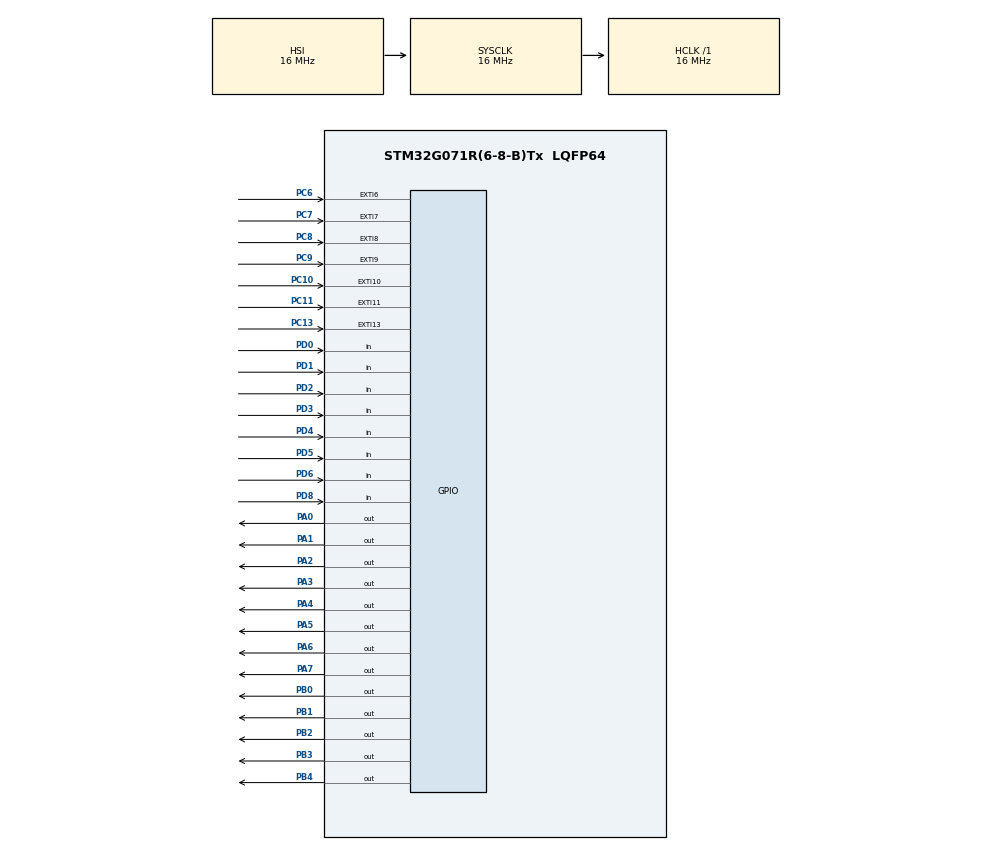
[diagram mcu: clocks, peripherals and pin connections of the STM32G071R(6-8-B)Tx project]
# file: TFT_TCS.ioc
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Mcu.Family=STM32G0
Mcu.Name=STM32G071R(6-8-B)Tx
Mcu.Package=LQFP64
NVIC.EXTI4_15_IRQn=true\:0\:0\:false\:false\:true\:true\:true
PA0.Signal=GPIO_Output
PA1.Signal=GPIO_Output
PA2.Signal=GPIO_Output
PA3.Signal=GPIO_Output
PA4.Signal=GPIO_Output
PA5.Signal=GPIO_Output
PA6.Signal=GPIO_Output
PA7.Signal=GPIO_Output
PB0.Signal=GPIO_Output
PB1.Signal=GPIO_Output
PB2.Signal=GPIO_Output
PB3.Signal=GPIO_Output
PB4.Signal=GPIO_Output
PC10.GPIO_ModeDefaultEXTI=GPIO_MODE_IT_FALLING
PC10.GPIO_PuPd=GPIO_PULLUP
PC10.Signal=GPXTI10
PC11.GPIO_ModeDefaultEXTI=GPIO_MODE_IT_FALLING
PC11.GPIO_PuPd=GPIO_PULLUP
PC11.Signal=GPXTI11
PC13.GPIO_ModeDefaultEXTI=GPIO_MODE_IT_FALLING
PC13.GPIO_PuPd=GPIO_PULLUP
PC13.Signal=GPXTI13
PC6.GPIO_ModeDefaultEXTI=GPIO_MODE_IT_FALLING
PC6.GPIO_PuPd=GPIO_PULLUP
PC6.Signal=GPXTI6
PC7.GPIO_ModeDefaultEXTI=GPIO_MODE_IT_FALLING
PC7.GPIO_PuPd=GPIO_PULLUP
PC7.Signal=GPXTI7
PC8.GPIO_ModeDefaultEXTI=GPIO_MODE_IT_FALLING
PC8.GPIO_PuPd=GPIO_PULLUP
PC8.Signal=GPXTI8
PC9.GPIO_ModeDefaultEXTI=GPIO_MODE_IT_FALLING
PC9.GPIO_PuPd=GPIO_PULLUP
PC9.Signal=GPXTI9
PD0.GPIO_PuPd=GPIO_PULLUP
PD0.Signal=GPIO_Input
PD1.GPIO_PuPd=GPIO_PULLUP
PD1.Signal=GPIO_Input
PD2.GPIO_PuPd=GPIO_PULLUP
PD2.Signal=GPIO_Input
PD3.GPIO_PuPd=GPIO_PULLUP
PD3.Signal=GPIO_Input
PD4.GPIO_PuPd=GPIO_PULLUP
PD4.Signal=GPIO_Input
PD5.GPIO_PuPd=GPIO_PULLUP
PD5.Signal=GPIO_Input
PD6.GPIO_PuPd=GPIO_PULLUP
PD6.Signal=GPIO_Input
PD8.GPIO_PuPd=GPIO_PULLUP
PD8.Signal=GPIO_Input
ProjectManager.HeapSize=0x200
ProjectManager.StackSize=0x400
ProjectManager.TargetToolchain=MDK-ARM V5.27
RCC.AHBFreq_Value=16000000
RCC.CortexFreq_Value=16000000
RCC.EXTERNAL_CLOCK_VALUE=48000
RCC.HCLKFreq_Value=16000000
RCC.HSE_VALUE=8000000
RCC.HSI_VALUE=16000000
RCC.LSE_VALUE=32768
RCC.SYSCLKFreq_VALUE=16000000
RCC.VCOOutputFreq_Value=128000000
VP_SYS_VS_DBSignals.Mode=DisableDeadBatterySignals
board=custom

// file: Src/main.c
#include "main.h"
#include "stdlib.h"
#include "string.h"
#define u8  unsigned char
#define u16 unsigned int

int ZFK[27][16][12]=  //字符库 27个 16行 12列 (0亮1灭)
{
		{		//		空格
		{0,0,0,0,0,0,0,0,0,0,0,0},
		{0,0,0,0,0,0,0,0,0,0,0,0},
		{0,0,0,0,0,0,0,0,0,0,0,0},
		{0,0,0,0,0,0,0,0,0,0,0,0},
		{0,0,0,0,0,0,0,0,0,0,0,0},
		{0,0,0,0,0,0,0,0,0,0,0,0},
		{0,0,0,0,0,0,0,0,0,0,0,0},
		{0,0,0,0,0,0,0,0,0,0,0,0},
		{0,0,0,0,0,0,0,0,0,0,0,0},
		{0,0,0,0,0,0,0,0,0,0,0,0},
		{0,0,0,0,0,0,0,0,0,0,0,0},
		{0,0,0,0,0,0,0,0,0,0,0,0},
		{0,0,0,0,0,0,0,0,0,0,0,0},
		{0,0,0,0,0,0,0,0,0,0,0,0},
		{0,0,0,0,0,0,0,0,0,0,0,0},
		{0,0,0,0,0,0,0,0,0,0,0,0},
	},

	{		//		A
		{0,0,0,0,0,0,0,0,0,0,0,0},
		{0,0,0,0,0,0,0,0,0,0,0,0},
		{0,0,0,0,0,0,0,0,0,0,0,0},
		{0,0,0,0,0,0,0,0,0,0,0,0},
		{0,0,0,0,0,0,0,0,0,0,0,0},
		{0,0,0,0,1,1,1,0,0,0,0,0},
		{0,0,0,0,1,1,1,0,0,0,0,0},
		{0,0,0,1,1,0,1,1,0,0,0,0},
		{0,0,0,1,0,0,0,1,0,0,0,0},
		{0,0,1,1,0,0,0,1,1,0,0,0},
		{0,0,1,1,1,1,1,1,1,0,0,0},
		{0,1,1,1,1,1,1,1,1,1,0,0},
		{0,1,1,0,0,0,0,0,1,1,0,0},
		{0,1,1,0,0,0,0,0,1,1,0,0},
		{0,1,1,0,0,0,0,0,1,1,0,0},
		{0,0,0,0,0,0,0,0,0,0,0,0},
	},

	{		//		B
		{0,0,0,0,0,0,0,0,0,0,0,0},
		{0,0,0,0,0,0,0,0,0,0,0,0},
		{0,0,0,0,0,0,0,0,0,0,0,0},
		{0,0,0,0,0,0,0,0,0,0,0,0},
		{0,0,0,0,0,0,0,0,0,0,0,0},
		{0,1,1,1,1,1,0,0,0,0,0,0},
		{0,1,1,1,1,1,1,1,0,0,0,0},
		{0,1,1,0,0,0,1,1,0,0,0,0},
		{0,1,1,0,0,0,1,1,0,0,0,0},
		{0,1,1,1,1,1,1,0,0,0,0,0},
		{0,1,1,1,1,1,1,0,0,0,0,0},
		{0,1,1,0,0,0,1,1,0,0,0,0},
		{0,1,1,0,0,0,1,1,0,0,0,0},
		{0,1,1,1,1,1,1,1,0,0,0,0},
		{0,1,1,1,1,1,0,0,0,0,0,0},
		{0,0,0,0,0,0,0,0,0,0,0,0},
	},

	{		 //		C
		{0,0,0,0,0,0,0,0,0,0,0,0},
		{0,0,0,0,0,0,0,0,0,0,0,0},
		{0,0,0,0,0,0,0,0,0,0,0,0},
		{0,0,0,0,0,0,0,0,0,0,0,0},
		{0,0,0,0,0,0,0,0,0,0,0,0},
		{0,0,0,1,1,1,1,1,0,0,0,0},
		{0,0,1,1,1,1,1,1,0,0,0,0},
		{0,1,1,1,0,0,0,0,0,0,0,0},
		{0,1,1,0,0,0,0,0,0,0,0,0},
		{0,1,1,0,0,0,0,0,0,0,0,0},
		{0,1,1,0,0,0,0,0,0,0,0,0},
		{0,1,1,0,0,0,0,0,0,0,0,0},
		{0,1,1,1,0,0,0,0,0,0,0,0},
		{0,0,1,1,1,1,1,1,0,0,0,0},
		{0,0,0,1,1,1,1,1,0,0,0,0},
		{0,0,0,0,0,0,0,0,0,0,0,0},
	},

	{		 //		D
		{0,0,0,0,0,0,0,0,0,0,0,0},
		{0,0,0,0,0,0,0,0,0,0,0,0},
		{0,0,0,0,0,0,0,0,0,0,0,0},
		{0,0,0,0,0,0,0,0,0,0,0,0},
		{0,0,0,0,0,0,0,0,0,0,0,0},
		{0,1,1,1,1,1,0,0,0,0,0,0},
		{0,1,1,1,1,1,1,1,0,0,0,0},
		{0,1,1,0,0,0,1,1,0,0,0,0},
		{0,1,1,0,0,0,1,1,0,0,0,0},
		{0,1,1,0,0,0,1,1,0,0,0,0},
		{0,1,1,0,0,0,1,1,0,0,0,0},
		{0,1,1,0,0,0,1,1,0,0,0,0},
		{0,1,1,0,0,0,1,1,0,0,0,0},
		{0,1,1,1,1,1,1,1,0,0,0,0},
		{0,1,1,1,1,1,0,0,0,0,0,0},
		{0,0,0,0,0,0,0,0,0,0,0,0},
	},

	{		 //		E
		{0,0,0,0,0,0,0,0,0,0,0,0},
		{0,0,0,0,0,0,0,0,0,0,0,0},
		{0,0,0,0,0,0,0,0,0,0,0,0},
		{0,0,0,0,0,0,0,0,0,0,0,0},
		{0,0,0,0,0,0,0,0,0,0,0,0},
		{0,1,1,1,1,1,1,1,0,0,0,0},
		{0,1,1,1,1,1,1,1,0,0,0,0},
		{0,1,1,0,0,0,0,0,0,0,0,0},
		{0,1,1,0,0,0,0,0,0,0,0,0},
		{0,1,1,1,1,1,1,1,0,0,0,0},
		{0,1,1,1,1,1,1,1,0,0,0,0},
		{0,1,1,0,0,0,0,0,0,0,0,0},
		{0,1,1,0,0,0,0,0,0,0,0,0},
		{0,1,1,1,1,1,1,1,0,0,0,0},
		{0,1,1,1,1,1,1,1,0,0,0,0},
		{0,0,0,0,0,0,0,0,0,0,0,0},
	},

	{		 //		F
		{0,0,0,0,0,0,0,0,0,0,0,0},
		{0,0,0,0,0,0,0,0,0,0,0,0},
		{0,0,0,0,0,0,0,0,0,0,0,0},
		{0,0,0,0,0,0,0,0,0,0,0,0},
		{0,0,0,0,0,0,0,0,0,0,0,0},
		{0,1,1,1,1,1,1,1,0,0,0,0},
		{0,1,1,1,1,1,1,1,0,0,0,0},
		{0,1,1,0,0,0,0,0,0,0,0,0},
		{0,1,1,0,0,0,0,0,0,0,0,0},
		{0,1,1,1,1,1,0,0,0,0,0,0},
		{0,1,1,1,1,1,0,0,0,0,0,0},
		{0,1,1,0,0,0,0,0,0,0,0,0},
		{0,1,1,0,0,0,0,0,0,0,0,0},
		{0,1,1,0,0,0,0,0,0,0,0,0},
		{0,1,1,0,0,0,0,0,0,0,0,0},
		{0,0,0,0,0,0,0,0,0,0,0,0},
	},

	{		 //		G
		{0,0,0,0,0,0,0,0,0,0,0,0},
		{0,0,0,0,0,0,0,0,0,0,0,0},
		{0,0,0,0,0,0,0,0,0,0,0,0},
		{0,0,0,0,0,0,0,0,0,0,0,0},
		{0,0,0,0,0,0,0,0,0,0,0,0},
		{0,0,0,1,1,1,1,1,0,0,0,0},
		{0,0,1,1,1,1,1,1,0,0,0,0},
		{0,1,1,1,0,0,0,0,0,0,0,0},
		{0,1,1,0,0,0,0,0,0,0,0,0},
		{0,1,1,0,0,1,1,1,0,0,0,0},
		{0,1,1,0,0,1,1,1,0,0,0,0},
		{0,1,1,0,0,0,1,1,0,0,0,0},
		{0,1,1,1,0,0,1,1,0,0,0,0},
		{0,0,1,1,1,1,1,1,0,0,0,0},
		{0,0,0,1,1,1,1,1,0,0,0,0},
		{0,0,0,0,0,0,0,0,0,0,0,0},
	},

	{		 //		H
		{0,0,0,0,0,0,0,0,0,0,0,0},
		{0,0,0,0,0,0,0,0,0,0,0,0},
		{0,0,0,0,0,0,0,0,0,0,0,0},
		{0,0,0,0,0,0,0,0,0,0,0,0},
		{0,0,0,0,0,0,0,0,0,0,0,0},
		{0,1,1,0,0,0,1,1,0,0,0,0},
		{0,1,1,0,0,0,1,1,0,0,0,0},
		{0,1,1,0,0,0,1,1,0,0,0,0},
		{0,1,1,0,0,0,1,1,0,0,0,0},
		{0,1,1,1,1,1,1,1,0,0,0,0},
		{0,1,1,1,1,1,1,1,0,0,0,0},
		{0,1,1,0,0,0,1,1,0,0,0,0},
		{0,1,1,0,0,0,1,1,0,0,0,0},
		{0,1,1,0,0,0,1,1,0,0,0,0},
		{0,1,1,0,0,0,1,1,0,0,0,0},
		{0,0,0,0,0,0,0,0,0,0,0,0},
	},

	{		 //		I
		{0,0,0,0,0,0,0,0,0,0,0,0},
		{0,0,0,0,0,0,0,0,0,0,0,0},
		{0,0,0,0,0,0,0,0,0,0,0,0},
		{0,0,0,0,0,0,0,0,0,0,0,0},
		{0,0,0,0,0,0,0,0,0,0,0,0},
		{0,0,1,1,1,1,1,1,0,0,0,0},
		{0,0,1,1,1,1,1,1,0,0,0,0},
		{0,0,0,0,1,1,0,0,0,0,0,0},
		{0,0,0,0,1,1,0,0,0,0,0,0},
		{0,0,0,0,1,1,0,0,0,0,0,0},
		{0,0,0,0,1,1,0,0,0,0,0,0},
		{0,0,0,0,1,1,0,0,0,0,0,0},
		{0,0,0,0,1,1,0,0,0,0,0,0},
		{0,0,1,1,1,1,1,1,0,0,0,0},
		{0,0,1,1,1,1,1,1,0,0,0,0},
		{0,0,0,0,0,0,0,0,0,0,0,0},
	},

	{		 //		J
		{0,0,0,0,0,0,0,0,0,0,0,0},
		{0,0,0,0,0,0,0,0,0,0,0,0},
		{0,0,0,0,0,0,0,0,0,0,0,0},
		{0,0,0,0,0,0,0,0,0,0,0,0},
		{0,0,0,0,0,0,0,0,0,0,0,0},
		{0,0,1,1,1,1,1,1,0,0,0,0},
		{0,0,1,1,1,1,1,1,0,0,0,0},
		{0,0,0,0,1,1,0,0,0,0,0,0},
		{0,0,0,0,1,1,0,0,0,0,0,0},
		{0,0,0,0,1,1,0,0,0,0,0,0},
		{0,0,0,0,1,1,0,0,0,0,0,0},
		{0,0,0,0,1,1,0,0,0,0,0,0},
		{0,1,0,0,1,1,0,0,0,0,0,0},
		{0,1,1,1,1,1,0,0,0,0,0,0},
		{0,0,1,1,1,1,0,0,0,0,0,0},
		{0,0,0,0,0,0,0,0,0,0,0,0},
	},

	{		 //		K
		{0,0,0,0,0,0,0,0,0,0,0,0},
		{0,0,0,0,0,0,0,0,0,0,0,0},
		{0,0,0,0,0,0,0,0,0,0,0,0},
		{0,0,0,0,0,0,0,0,0,0,0,0},
		{0,0,0,0,0,0,0,0,0,0,0,0},
		{0,1,1,0,0,0,1,1,0,0,0,0},
		{0,1,1,0,0,1,1,0,0,0,0,0},
		{0,1,1,0,1,1,0,0,0,0,0,0},
		{0,1,1,1,1,0,0,0,0,0,0,0},
		{0,1,1,1,0,0,0,0,0,0,0,0},
		{0,1,1,1,0,0,0,0,0,0,0,0},
		{0,1,1,1,1,0,0,0,0,0,0,0},
		{0,1,1,0,1,1,0,0,0,0,0,0},
		{0,1,1,0,0,1,1,0,0,0,0,0},
		{0,1,1,0,0,0,1,1,0,0,0,0},
		{0,0,0,0,0,0,0,0,0,0,0,0},
	},

	{		 //		L
		{0,0,0,0,0,0,0,0,0,0,0,0},
		{0,0,0,0,0,0,0,0,0,0,0,0},
		{0,0,0,0,0,0,0,0,0,0,0,0},
		{0,0,0,0,0,0,0,0,0,0,0,0},
		{0,0,0,0,0,0,0,0,0,0,0,0},
		{0,1,1,0,0,0,0,0,0,0,0,0},
		{0,1,1,0,0,0,0,0,0,0,0,0},
		{0,1,1,0,0,0,0,0,0,0,0,0},
		{0,1,1,0,0,0,0,0,0,0,0,0},
		{0,1,1,0,0,0,0,0,0,0,0,0},
		{0,1,1,0,0,0,0,0,0,0,0,0},
		{0,1,1,0,0,0,0,0,0,0,0,0},
		{0,1,1,0,0,0,0,0,0,0,0,0},
		{0,1,1,1,1,1,1,1,0,0,0,0},
		{0,1,1,1,1,1,1,1,0,0,0,0},
		{0,0,0,0,0,0,0,0,0,0,0,0},
	},

	{		 //		M
		{0,0,0,0,0,0,0,0,0,0,0,0},
		{0,0,0,0,0,0,0,0,0,0,0,0},
		{0,0,0,0,0,0,0,0,0,0,0,0},
		{0,0,0,0,0,0,0,0,0,0,0,0},
		{0,0,0,0,0,0,0,0,0,0,0,0},
		{0,1,1,0,0,0,0,0,1,1,0,0},
		{0,1,1,1,0,0,0,1,1,1,0,0},
		{0,1,1,1,1,0,1,1,1,1,0,0},
		{0,1,1,0,1,1,1,0,1,1,0,0},
		{0,1,1,0,1,1,1,0,1,1,0,0},
		{0,1,1,0,0,1,0,0,1,1,0,0},
		{0,1,1,0,0,0,0,0,1,1,0,0},
		{0,1,1,0,0,0,0,0,1,1,0,0},
		{0,1,1,0,0,0,0,0,1,1,0,0},
		{0,1,1,0,0,0,0,0,1,1,0,0},
		{0,0,0,0,0,0,0,0,0,0,0,0},
	},

	{		 //		N
		{0,0,0,0,0,0,0,0,0,0,0,0},
		{0,0,0,0,0,0,0,0,0,0,0,0},
		{0,0,0,0,0,0,0,0,0,0,0,0},
		{0,0,0,0,0,0,0,0,0,0,0,0},
		{0,0,0,0,0,0,0,0,0,0,0,0},
		{0,1,1,0,0,0,0,0,1,1,0,0},
		{0,1,1,1,0,0,0,0,1,1,0,0},
		{0,1,1,1,0,0,0,0,1,1,0,0},
		{0,1,1,1,1,0,0,0,1,1,0,0},
		{0,1,1,0,1,1,0,0,1,1,0,0},
		{0,1,1,0,0,1,1,0,1,1,0,0},
		{0,1,1,0,0,0,1,1,1,1,0,0},
		{0,1,1,0,0,0,0,1,1,1,0,0},
		{0,1,1,0,0,0,0,1,1,1,0,0},
		{0,1,1,0,0,0,0,0,1,1,0,0},
		{0,0,0,0,0,0,0,0,0,0,0,0},
	},

	{		 //		O
		{0,0,0,0,0,0,0,0,0,0,0,0},
		{0,0,0,0,0,0,0,0,0,0,0,0},
		{0,0,0,0,0,0,0,0,0,0,0,0},
		{0,0,0,0,0,0,0,0,0,0,0,0},
		{0,0,0,0,0,0,0,0,0,0,0,0},
		{0,0,0,1,1,1,1,0,0,0,0,0},
		{0,0,1,1,1,1,1,1,0,0,0,0},
		{0,1,1,1,0,0,1,1,1,0,0,0},
		{0,1,1,0,0,0,0,1,1,0,0,0},
		{0,1,1,0,0,0,0,1,1,0,0,0},
		{0,1,1,0,0,0,0,1,1,0,0,0},
		{0,1,1,0,0,0,0,1,1,0,0,0},
		{0,1,1,1,0,0,1,1,1,0,0,0},
		{0,0,1,1,1,1,1,1,0,0,0,0},
		{0,0,0,1,1,1,1,0,0,0,0,0},
		{0,0,0,0,0,0,0,0,0,0,0,0},
	},

	{		 //		P
		{0,0,0,0,0,0,0,0,0,0,0,0},
		{0,0,0,0,0,0,0,0,0,0,0,0},
		{0,0,0,0,0,0,0,0,0,0,0,0},
		{0,0,0,0,0,0,0,0,0,0,0,0},
		{0,0,0,0,0,0,0,0,0,0,0,0},
		{0,1,1,1,1,1,1,0,0,0,0,0},
		{0,1,1,1,1,1,1,1,0,0,0,0},
		{0,1,1,0,0,0,1,1,0,0,0,0},
		{0,1,1,0,0,0,1,1,0,0,0,0},
		{0,1,1,1,1,1,1,1,0,0,0,0},
		{0,1,1,1,1,1,1,0,0,0,0,0},
		{0,1,1,0,0,0,0,0,0,0,0,0},
		{0,1,1,0,0,0,0,0,0,0,0,0},
		{0,1,1,0,0,0,0,0,0,0,0,0},
		{0,1,1,0,0,0,0,0,0,0,0,0},
		{0,0,0,0,0,0,0,0,0,0,0,0},
	},

	{		 //		Q
		{0,0,0,0,0,0,0,0,0,0,0,0},
		{0,0,0,0,0,0,0,0,0,0,0,0},
		{0,0,0,0,0,0,0,0,0,0,0,0},
		{0,0,0,0,0,0,0,0,0,0,0,0},
		{0,0,0,0,0,0,0,0,0,0,0,0},
		{0,0,0,1,1,1,1,0,0,0,0,0},
		{0,0,1,1,1,1,1,1,0,0,0,0},
		{0,1,1,1,0,0,1,1,1,0,0,0},
		{0,1,1,0,0,0,0,1,1,0,0,0},
		{0,1,1,0,0,0,0,1,1,0,0,0},
		{0,1,1,0,0,0,0,1,1,0,0,0},
		{0,1,1,0,0,0,0,1,1,0,0,0},
		{0,1,1,1,0,0,1,1,1,0,0,0},
		{0,0,1,1,1,1,1,1,1,1,0,0},
		{0,0,0,1,1,1,1,0,0,1,0,0},
		{0,0,0,0,0,0,0,0,0,0,0,0},
	},

	{		 //		R
		{0,0,0,0,0,0,0,0,0,0,0,0},
		{0,0,0,0,0,0,0,0,0,0,0,0},
		{0,0,0,0,0,0,0,0,0,0,0,0},
		{0,0,0,0,0,0,0,0,0,0,0,0},
		{0,0,0,0,0,0,0,0,0,0,0,0},
		{0,1,1,1,1,1,1,0,0,0,0,0},
		{0,1,1,1,1,1,1,1,0,0,0,0},
		{0,1,1,0,0,0,1,1,0,0,0,0},
		{0,1,1,0,0,0,1,1,0,0,0,0},
		{0,1,1,1,1,1,1,1,0,0,0,0},
		{0,1,1,1,1,1,1,0,0,0,0,0},
		{0,1,1,1,1,0,0,0,0,0,0,0},
		{0,1,1,0,1,1,0,0,0,0,0,0},
		{0,1,1,0,0,1,1,0,0,0,0,0},
		{0,1,1,0,0,0,1,1,0,0,0,0},
		{0,0,0,0,0,0,0,0,0,0,0,0},
	},

	{		 //		S
		{0,0,0,0,0,0,0,0,0,0,0,0},
		{0,0,0,0,0,0,0,0,0,0,0,0},
		{0,0,0,0,0,0,0,0,0,0,0,0},
		{0,0,0,0,0,0,0,0,0,0,0,0},
		{0,0,0,0,0,0,0,0,0,0,0,0},
		{0,0,0,1,1,1,1,1,0,0,0,0},
		{0,0,1,1,1,1,1,1,1,0,0,0},
		{0,1,1,0,0,0,0,0,0,0,0,0},
		{0,1,1,0,0,0,0,0,0,0,0,0},
		{0,0,1,1,1,1,1,0,0,0,0,0},
		{0,0,0,1,1,1,1,1,0,0,0,0},
		{0,0,0,0,0,0,0,1,1,0,0,0},
		{0,0,0,0,0,0,0,1,1,0,0,0},
		{0,1,1,1,1,1,1,1,0,0,0,0},
		{0,0,1,1,1,1,1,0,0,0,0,0},
		{0,0,0,0,0,0,0,0,0,0,0,0},
	},

	{		 //		T
		{0,0,0,0,0,0,0,0,0,0,0,0},
		{0,0,0,0,0,0,0,0,0,0,0,0},
		{0,0,0,0,0,0,0,0,0,0,0,0},
		{0,0,0,0,0,0,0,0,0,0,0,0},
		{0,0,0,0,0,0,0,0,0,0,0,0},
		{0,1,1,1,1,1,1,1,1,0,0,0},
		{0,1,1,1,1,1,1,1,1,0,0,0},
		{0,0,0,0,1,1,0,0,0,0,0,0},
		{0,0,0,0,1,1,0,0,0,0,0,0},
		{0,0,0,0,1,1,0,0,0,0,0,0},
		{0,0,0,0,1,1,0,0,0,0,0,0},
		{0,0,0,0,1,1,0,0,0,0,0,0},
		{0,0,0,0,1,1,0,0,0,0,0,0},
		{0,0,0,0,1,1,0,0,0,0,0,0},
		{0,0,0,0,1,1,0,0,0,0,0,0},
		{0,0,0,0,0,0,0,0,0,0,0,0},
	},

	{		 //		U
		{0,0,0,0,0,0,0,0,0,0,0,0},
		{0,0,0,0,0,0,0,0,0,0,0,0},
		{0,0,0,0,0,0,0,0,0,0,0,0},
		{0,0,0,0,0,0,0,0,0,0,0,0},
		{0,0,0,0,0,0,0,0,0,0,0,0},
		{0,1,1,0,0,0,0,1,1,0,0,0},
		{0,1,1,0,0,0,0,1,1,0,0,0},
		{0,1,1,0,0,0,0,1,1,0,0,0},
		{0,1,1,0,0,0,0,1,1,0,0,0},
		{0,1,1,0,0,0,0,1,1,0,0,0},
		{0,1,1,0,0,0,0,1,1,0,0,0},
		{0,1,1,0,0,0,0,1,1,0,0,0},
		{0,1,1,1,0,0,1,1,1,0,0,0},
		{0,0,1,1,1,1,1,1,0,0,0,0},
		{0,0,0,1,1,1,1,0,0,0,0,0},
		{0,0,0,0,0,0,0,0,0,0,0,0},
	},

	{		 //		V
		{0,0,0,0,0,0,0,0,0,0,0,0},
		{0,0,0,0,0,0,0,0,0,0,0,0},
		{0,0,0,0,0,0,0,0,0,0,0,0},
		{0,0,0,0,0,0,0,0,0,0,0,0},
		{0,0,0,0,0,0,0,0,0,0,0,0},
		{0,1,0,0,0,0,0,0,1,0,0,0},
		{0,1,0,0,0,0,0,0,1,0,0,0},
		{0,1,1,0,0,0,0,1,1,0,0,0},
		{0,1,1,0,0,0,0,1,1,0,0,0},
		{0,0,1,1,0,0,1,1,0,0,0,0},
		{0,0,1,1,0,0,1,1,0,0,0,0},
		{0,0,0,1,0,0,1,0,0,0,0,0},
		{0,0,0,1,1,1,1,0,0,0,0,0},
		{0,0,0,0,1,1,0,0,0,0,0,0},
		{0,0,0,0,1,1,0,0,0,0,0,0},
		{0,0,0,0,0,0,0,0,0,0,0,0},
	},

	{		 //		W
		{0,0,0,0,0,0,0,0,0,0,0,0},
		{0,0,0,0,0,0,0,0,0,0,0,0},
		{0,0,0,0,0,0,0,0,0,0,0,0},
		{0,0,0,0,0,0,0,0,0,0,0,0},
		{0,0,0,0,0,0,0,0,0,0,0,0},
		{0,1,1,0,0,0,0,0,1,1,0,0},
		{0,1,1,0,0,0,0,0,1,1,0,0},
		{0,1,1,0,0,0,0,0,1,1,0,0},
		{0,1,1,0,0,0,0,0,1,1,0,0},
		{0,1,1,0,0,1,0,0,1,1,0,0},
		{0,1,1,0,1,1,1,0,1,1,0,0},
		{0,1,1,1,1,0,1,1,1,1,0,0},
		{0,1,1,1,0,0,0,1,1,1,0,0},
		{0,1,1,0,0,0,0,0,1,1,0,0},
		{0,1,0,0,0,0,0,0,0,1,0,0},
		{0,0,0,0,0,0,0,0,0,0,0,0},
	},

	{		 //		X
		{0,0,0,0,0,0,0,0,0,0,0,0},
		{0,0,0,0,0,0,0,0,0,0,0,0},
		{0,0,0,0,0,0,0,0,0,0,0,0},
		{0,0,0,0,0,0,0,0,0,0,0,0},
		{0,0,0,0,0,0,0,0,0,0,0,0},
		{0,1,1,0,0,1,1,0,0,0,0,0},
		{0,1,1,0,0,1,1,0,0,0,0,0},
		{0,0,1,1,1,1,0,0,0,0,0,0},
		{0,0,1,1,1,1,0,0,0,0,0,0},
		{0,0,0,1,1,0,0,0,0,0,0,0},
		{0,0,0,1,1,0,0,0,0,0,0,0},
		{0,0,1,1,1,1,0,0,0,0,0,0},
		{0,0,1,1,1,1,0,0,0,0,0,0},
		{0,1,1,0,0,1,1,0,0,0,0,0},
		{0,1,1,0,0,1,1,0,0,0,0,0},
		{0,0,0,0,0,0,0,0,0,0,0,0},
	},

	{		 //		Y
		{0,0,0,0,0,0,0,0,0,0,0,0},
		{0,0,0,0,0,0,0,0,0,0,0,0},
		{0,0,0,0,0,0,0,0,0,0,0,0},
		{0,0,0,0,0,0,0,0,0,0,0,0},
		{0,0,0,0,0,0,0,0,0,0,0,0},
		{0,1,1,0,0,1,1,0,0,0,0,0},
		{0,1,1,0,0,1,1,0,0,0,0,0},
		{0,1,1,0,0,1,1,0,0,0,0,0},
		{0,0,1,1,1,1,0,0,0,0,0,0},
		{0,0,0,1,1,0,0,0,0,0,0,0},
		{0,0,0,1,1,0,0,0,0,0,0,0},
		{0,0,0,1,1,0,0,0,0,0,0,0},
		{0,0,0,1,1,0,0,0,0,0,0,0},
		{0,0,0,1,1,0,0,0,0,0,0,0},
		{0,0,0,1,1,0,0,0,0,0,0,0},
		{0,0,0,0,0,0,0,0,0,0,0,0},
	},

	{		 //		Z
		{0,0,0,0,0,0,0,0,0,0,0,0},
		{0,0,0,0,0,0,0,0,0,0,0,0},
		{0,0,0,0,0,0,0,0,0,0,0,0},
		{0,0,0,0,0,0,0,0,0,0,0,0},
		{0,0,0,0,0,0,0,0,0,0,0,0},
		{0,1,1,1,1,1,1,1,0,0,0,0},
		{0,1,1,1,1,1,1,1,0,0,0,0},
		{0,0,0,0,0,0,1,1,0,0,0,0},
		{0,0,0,0,0,1,1,0,0,0,0,0},
		{0,0,0,0,1,1,0,0,0,0,0,0},
		{0,0,0,0,1,1,0,0,0,0,0,0},
		{0,0,0,1,1,0,0,0,0,0,0,0},
		{0,0,1,1,0,0,0,0,0,0,0,0},
		{0,1,1,1,1,1,1,1,0,0,0,0},
		{0,1,1,1,1,1,1,1,0,0,0,0},
		{0,0,0,0,0,0,0,0,0,0,0,0},
	}
};

int WZK[20][20]=  //文字模式显存 20行 20列 （数值不同字符不同）
{
	{0,0,0,0,0,0,0,0,0,0,0,0,0,0,0,0,0,0,0,0},
	{0,0,0,0,0,0,0,0,0,0,0,0,0,0,0,0,0,0,0,0},
	{0,0,0,0,0,0,0,0,0,0,0,0,0,0,0,0,0,0,0,0},
	{0,0,0,0,0,0,0,0,0,0,0,0,0,0,0,0,0,0,0,0},
	{0,0,0,0,0,0,0,0,0,0,0,0,0,0,0,0,0,0,0,0},
	{0,0,0,0,0,0,0,0,0,0,0,0,0,0,0,0,0,0,0,0},
	{0,0,0,0,0,0,0,0,0,0,0,0,0,0,0,0,0,0,0,0},
	{0,0,0,0,0,0,0,0,0,0,0,0,0,0,0,0,0,0,0,0},
	{0,0,0,0,0,0,0,0,0,0,0,0,0,0,0,0,0,0,0,0},
	{0,0,0,0,0,0,0,0,0,0,0,0,0,0,0,0,0,0,0,0},
	{0,0,0,0,0,0,0,0,0,0,0,0,0,0,0,0,0,0,0,0},
	{0,0,0,0,0,0,0,0,0,0,0,0,0,0,0,0,0,0,0,0},
	{0,0,0,0,0,0,0,0,0,0,0,0,0,0,0,0,0,0,0,0},
	{0,0,0,0,0,0,0,0,0,0,0,0,0,0,0,0,0,0,0,0},
	{0,0,0,0,0,0,0,0,0,0,0,0,0,0,0,0,0,0,0,0},
	{0,0,0,0,0,0,0,0,0,0,0,0,0,0,0,0,0,0,0,0},
	{0,0,0,0,0,0,0,0,0,0,0,0,0,0,0,0,0,0,0,0},
	{0,0,0,0,0,0,0,0,0,0,0,0,0,0,0,0,0,0,0,0},
	{0,0,0,0,0,0,0,0,0,0,0,0,0,0,0,0,0,0,0,0},
	{0,0,0,0,0,0,0,0,0,0,0,0,0,0,0,0,0,0,0,0}
};

int TCSK[20][20]=  //贪吃模式显存 20行 20列 （数值不同颜色不同）
{
	{0,0,0,0,0,0,0,0,0,0,0,0,0,0,0,0,0,0,0,0},
	{0,0,0,0,0,0,0,0,0,0,0,0,0,0,0,0,0,0,0,0},
	{0,0,0,0,0,0,0,0,0,0,0,0,0,0,0,0,0,0,0,0},
	{0,0,0,0,0,0,0,0,0,0,0,0,0,0,0,0,0,0,0,0},
	{0,0,0,0,0,0,0,0,0,0,0,0,0,0,0,0,0,0,0,0},
	{0,0,0,0,0,0,0,0,0,0,0,0,0,0,0,0,0,0,0,0},
	{0,0,0,0,0,0,0,0,0,0,0,0,0,0,0,0,0,0,0,0},
	{0,0,0,0,0,0,0,0,0,0,0,0,0,0,0,0,0,0,0,0},
	{0,0,0,0,0,0,0,0,0,0,0,0,0,0,0,0,0,0,0,0},
	{0,0,0,0,0,0,0,0,0,0,0,0,0,0,0,0,0,0,0,0},
	{0,0,0,0,0,0,0,0,0,0,0,0,0,0,0,0,0,0,0,0},
	{0,0,0,0,0,0,0,0,0,0,0,0,0,0,0,0,0,0,0,0},
	{0,0,0,0,0,0,0,0,0,0,0,0,0,0,0,0,0,0,0,0},
	{0,0,0,0,0,0,0,0,0,0,0,0,0,0,0,0,0,0,0,0},
	{0,0,0,0,0,0,0,0,0,0,0,0,0,0,0,0,0,0,0,0},
	{0,0,0,0,0,0,0,0,0,0,0,0,0,0,0,0,0,0,0,0},
	{0,0,0,0,0,0,0,0,0,0,0,0,0,0,0,0,0,0,0,0},
	{0,0,0,0,0,0,0,0,0,0,0,0,0,0,0,0,0,0,0,0},
	{0,0,0,0,0,0,0,0,0,0,0,0,0,0,0,0,0,0,0,0},
	{0,0,0,0,0,0,0,0,0,0,0,0,0,0,0,0,0,0,0,0}
};

char tstr[20]; //字符串显示缓存数组
int hang=0;    //指定行数--定位

void comm_out(unsigned char m);											//输出命令
void data_out(unsigned char b);											//输出数据
void write_data(unsigned char i,unsigned char j);		//TFT写颜色

void reset_TFT(void);				//TFT彩屏初始化
void ini_ILI9341(void);			//控制器初始化

void printff(int hang,char tstr[]);		//根据字符串TSTR改文字模式显存
void display_TCS(void);								//按照贪吃蛇模式显示
void display_ZF(void);								//按照字符模式显示
void clear_TCS(void);									//贪吃蛇显存清除
void clear_WZ(void);									//文字显存清除

const int flg[4][2]={{1,0},{0,1},{0,-1},{-1,0}};//下右左上坐标变化规律
int n=20,m=20;  //n和m是蛇的活动范围20行20列+边框=可视化窗口大小
struct xcw{int x,y;}tang[5][15],foodd[2];//结构体tan存储每条蛇的坐标  结构体foodd记录两个食物坐标
int tot[5];     //tot[0123]是四条蛇的长度
int f[5];       //存储蛇的运行状态0123下右左上   搭配flg使用
int score;      //得分
int food;       //食物个数
int ms=0;       //初始--模式选择
int ans_len=1e9;
int vis[20][20];//记录食物存在点的矩阵  例如(foddd[0].x,foddd[0].y)有食物则vis[foddd[0].x][foddd[0].y]=1

int  stop=0;				 //暂停请求
void  mods(void);         //对应模式小蛇初始化
void draw(void);         //初始化贪吃蛇显存的边框数据
void rand_food(void);    //没有食物时随机投喂
void  change(int t);  //没有按键按下蛇的运行
int check(int x,int y);         //检验某一个点
void machine(int t,int x,int y); //机器人寻路
void result(int t);              //积分够了-胜利
void fnd(int t,int x,int y);     //撞到障碍物--失败
int  ads(int x);                 //取绝对值
int  other(int x);               //03交换、12交换
int get_food(int x,int y,int xxx,int yyy); //辅助机器人找寻食物

//****************************************************************

ITStatus EXTI_GetITStatus(uint32_t EXTI_Line) //判断中断管脚
{
    ITStatus bitstatus = RESET; //初始位状态0
    uint32_t enablestatus = 0;  //初始使能状态0
    assert_param(IS_GET_EXTI_LINE(EXTI_Line));
    enablestatus =  EXTI->IMR1 & EXTI_Line;
    if (((EXTI->FPR1 & EXTI_Line) != (uint32_t)RESET) && (enablestatus != (uint32_t)RESET))
		      bitstatus = SET;
    else
        bitstatus = RESET;
    return bitstatus;
}

void EXTI_ClearITPendingBit(uint32_t EXTI_Line) //释放对应管脚标志位
{
  assert_param(IS_EXTI_LINE(EXTI_Line));
  EXTI->FPR1 = EXTI_Line;
}

//*****************************************************************

void SystemClock_Config(void);
static void MX_GPIO_Init(void);

//*****************************************************************

int main(void)
{
  HAL_Init();
  SystemClock_Config();
  MX_GPIO_Init();
  reset_TFT();
	ini_ILI9341();

    while (1)
  {
		while(ms==0)
		{
			strcpy(tstr,"     SELECT MOOD        ");
			printff(2,tstr);
			strcpy(tstr," SINGLE MDDE           ");
			printff(4,tstr);
			strcpy(tstr," DOUBLE COOPERATION    ");
			printff(5,tstr);
			strcpy(tstr," PLAYER AGAINST        ");
			printff(6,tstr);
			strcpy(tstr," ROBOTS AGAINST         ");
			printff(7,tstr);
			strcpy(tstr," PLAYER VS ROBOT       ");
			printff(8,tstr);
			strcpy(tstr," DOUBLE CHALLANGE      ");
			printff(9,tstr);
			strcpy(tstr,"   PUSH USER STOP      ");
			printff(12,tstr);

			display_ZF();
			HAL_Delay(100);
		}

		while(ms==1)  //1单人模式
		{
			while(stop==1)
				HAL_Delay(100);
			display_TCS();	//TFT显示
			rand_food();
			if (HAL_GPIO_ReadPin(GPIOD,GPIO_PIN_4)==0&&f[0]^0)       //左右上下
				f[0]=3;
			else if (HAL_GPIO_ReadPin(GPIOD,GPIO_PIN_5)==0&&f[0]^3)
				f[0]=0;
			else if (HAL_GPIO_ReadPin(GPIOD,GPIO_PIN_6)==0&&f[0]^1)
				f[0]=2;
			else if (HAL_GPIO_ReadPin(GPIOD,GPIO_PIN_8)==0&&f[0]^2)
				f[0]=1;
			else ;
			change(0);
		}

		while(ms==2)	//2双人合作
		{
			while(stop==1)
				HAL_Delay(100);
			display_TCS();	//TFT显示
			rand_food();
			if (HAL_GPIO_ReadPin(GPIOD,GPIO_PIN_0)==0&&f[0]^0) // 上
				f[0]=3;
			else if (HAL_GPIO_ReadPin(GPIOD,GPIO_PIN_1)==0&&f[0]^3) //下
				f[0]=0;
			else if (HAL_GPIO_ReadPin(GPIOD,GPIO_PIN_2)==0&&f[0]^1) //左
				f[0]=2;
			else if (HAL_GPIO_ReadPin(GPIOD,GPIO_PIN_3)==0&&f[0]^2) //右
				f[0]=1;
			else ;
			if (HAL_GPIO_ReadPin(GPIOD,GPIO_PIN_4)==0&&f[1]^0) // 上
				f[1]=3;
			else if (HAL_GPIO_ReadPin(GPIOD,GPIO_PIN_5)==0&&f[1]^3) //下
				f[1]=0;
			else if (HAL_GPIO_ReadPin(GPIOD,GPIO_PIN_6)==0&&f[1]^1) //左
				f[1]=2;
			else if (HAL_GPIO_ReadPin(GPIOD,GPIO_PIN_8)==0&&f[1]^2) //右
				f[1]=1;
			else ;
			change(0);
			change(1);
		}

		while(ms==3)	//3双人对抗
		{
			while(stop==1)
				HAL_Delay(100);
			display_TCS();	//TFT显示
			rand_food();
			if (HAL_GPIO_ReadPin(GPIOD,GPIO_PIN_0)==0&&f[0]^0) // 上
				f[0]=3;
			else if (HAL_GPIO_ReadPin(GPIOD,GPIO_PIN_1)==0&&f[0]^3) //下
				f[0]=0;
			else if (HAL_GPIO_ReadPin(GPIOD,GPIO_PIN_2)==0&&f[0]^1) //左
				f[0]=2;
			else if (HAL_GPIO_ReadPin(GPIOD,GPIO_PIN_3)==0&&f[0]^2) //右
				f[0]=1;
			else ;
			if (HAL_GPIO_ReadPin(GPIOD,GPIO_PIN_4)==0&&f[1]^0) // 上
				f[1]=3;
			else if (HAL_GPIO_ReadPin(GPIOD,GPIO_PIN_5)==0&&f[1]^3) //下
				f[1]=0;
			else if (HAL_GPIO_ReadPin(GPIOD,GPIO_PIN_6)==0&&f[1]^1) //左
				f[1]=2;
			else if (HAL_GPIO_ReadPin(GPIOD,GPIO_PIN_8)==0&&f[1]^2) //右
				f[1]=1;
			else ;
			change(0);
			change(1);
		}

		while(ms==4)	//4机机对抗抢分
		{
			while(stop==1)
				HAL_Delay(100);
			display_TCS();	//TFT显示
			rand_food();
			change(2),change(3);
		}

		while(ms==5)	//5人机对抗抢分
		{
			while(stop==1)
				HAL_Delay(100);
			display_TCS();	//TFT显示
			rand_food();
			if (HAL_GPIO_ReadPin(GPIOD,GPIO_PIN_4)==0&&f[0]^0) // 上
				f[0]=3;
			else if (HAL_GPIO_ReadPin(GPIOD,GPIO_PIN_5)==0&&f[0]^3) //下
				f[0]=0;
			else if (HAL_GPIO_ReadPin(GPIOD,GPIO_PIN_6)==0&&f[0]^1) //左
				f[0]=2;
			else if (HAL_GPIO_ReadPin(GPIOD,GPIO_PIN_8)==0&&f[0]^2) //右
				f[0]=1;
			else ;
			change(0);
			change(2);
		}

		while(ms==6)	//6双人对抗抢分
		{
			while(stop==1)
				HAL_Delay(100);
			display_TCS();	//TFT显示
			rand_food();
			if (HAL_GPIO_ReadPin(GPIOD,GPIO_PIN_0)==0&&f[0]^0) // 上
				f[0]=3;
			else if (HAL_GPIO_ReadPin(GPIOD,GPIO_PIN_1)==0&&f[0]^3) //下
				f[0]=0;
			else if (HAL_GPIO_ReadPin(GPIOD,GPIO_PIN_2)==0&&f[0]^1) //左
				f[0]=2;
			else if (HAL_GPIO_ReadPin(GPIOD,GPIO_PIN_3)==0&&f[0]^2) //右
				f[0]=1;
			else ;
			if (HAL_GPIO_ReadPin(GPIOD,GPIO_PIN_4)==0&&f[1]^0) // 上
				f[1]=3;
			else if (HAL_GPIO_ReadPin(GPIOD,GPIO_PIN_5)==0&&f[1]^3) //下
				f[1]=0;
			else if (HAL_GPIO_ReadPin(GPIOD,GPIO_PIN_6)==0&&f[1]^1) //左
				f[1]=2;
			else if (HAL_GPIO_ReadPin(GPIOD,GPIO_PIN_8)==0&&f[1]^2) //右
				f[1]=1;
			else ;
			change(0);
			change(1);
		}
	}
}

void SystemClock_Config(void)
{
  RCC_OscInitTypeDef RCC_OscInitStruct = {0};
  RCC_ClkInitTypeDef RCC_ClkInitStruct = {0};

  /** Configure the main internal regulator output voltage
  */
  HAL_PWREx_ControlVoltageScaling(PWR_REGULATOR_VOLTAGE_SCALE1);
  /** Initializes the RCC Oscillators according to the specified parameters
  * in the RCC_OscInitTypeDef structure.
  */
  RCC_OscInitStruct.OscillatorType = RCC_OSCILLATORTYPE_HSI;
  RCC_OscInitStruct.HSIState = RCC_HSI_ON;
  RCC_OscInitStruct.HSIDiv = RCC_HSI_DIV1;
  RCC_OscInitStruct.HSICalibrationValue = RCC_HSICALIBRATION_DEFAULT;
  RCC_OscInitStruct.PLL.PLLState = RCC_PLL_NONE;
  if (HAL_RCC_OscConfig(&RCC_OscInitStruct) != HAL_OK)
  {
    Error_Handler();
  }
  /** Initializes the CPU, AHB and APB buses clocks
  */
  RCC_ClkInitStruct.ClockType = RCC_CLOCKTYPE_HCLK|RCC_CLOCKTYPE_SYSCLK
                              |RCC_CLOCKTYPE_PCLK1;
  RCC_ClkInitStruct.SYSCLKSource = RCC_SYSCLKSOURCE_HSI;
  RCC_ClkInitStruct.AHBCLKDivider = RCC_SYSCLK_DIV1;
  RCC_ClkInitStruct.APB1CLKDivider = RCC_HCLK_DIV1;

  if (HAL_RCC_ClockConfig(&RCC_ClkInitStruct, FLASH_LATENCY_0) != HAL_OK)
  {
    Error_Handler();
  }
}

static void MX_GPIO_Init(void)
{
  GPIO_InitTypeDef GPIO_InitStruct = {0};

  /* GPIO Ports Clock Enable */
  __HAL_RCC_GPIOC_CLK_ENABLE();
  __HAL_RCC_GPIOA_CLK_ENABLE();
  __HAL_RCC_GPIOB_CLK_ENABLE();
  __HAL_RCC_GPIOD_CLK_ENABLE();

  /*Configure GPIO pin Output Level */
  HAL_GPIO_WritePin(GPIOA, GPIO_PIN_0|GPIO_PIN_1|GPIO_PIN_2|GPIO_PIN_3
                          |GPIO_PIN_4|GPIO_PIN_5|GPIO_PIN_6|GPIO_PIN_7, GPIO_PIN_RESET);

  /*Configure GPIO pin Output Level */
  HAL_GPIO_WritePin(GPIOB, GPIO_PIN_0|GPIO_PIN_1|GPIO_PIN_2|GPIO_PIN_3
                          |GPIO_PIN_4, GPIO_PIN_RESET);

  /*Configure GPIO pins : PC11 PC13 PC6 PC7
                           PC8 PC9 PC10 */
  GPIO_InitStruct.Pin = GPIO_PIN_11|GPIO_PIN_13|GPIO_PIN_6|GPIO_PIN_7
                          |GPIO_PIN_8|GPIO_PIN_9|GPIO_PIN_10;
  GPIO_InitStruct.Mode = GPIO_MODE_IT_FALLING;
  GPIO_InitStruct.Pull = GPIO_PULLUP;
  HAL_GPIO_Init(GPIOC, &GPIO_InitStruct);

  /*Configure GPIO pins : PA0 PA1 PA2 PA3
                           PA4 PA5 PA6 PA7 */
  GPIO_InitStruct.Pin = GPIO_PIN_0|GPIO_PIN_1|GPIO_PIN_2|GPIO_PIN_3
                          |GPIO_PIN_4|GPIO_PIN_5|GPIO_PIN_6|GPIO_PIN_7;
  GPIO_InitStruct.Mode = GPIO_MODE_OUTPUT_PP;
  GPIO_InitStruct.Pull = GPIO_NOPULL;
  GPIO_InitStruct.Speed = GPIO_SPEED_FREQ_LOW;
  HAL_GPIO_Init(GPIOA, &GPIO_InitStruct);

  /*Configure GPIO pins : PB0 PB1 PB2 PB3
                           PB4 */
  GPIO_InitStruct.Pin = GPIO_PIN_0|GPIO_PIN_1|GPIO_PIN_2|GPIO_PIN_3
                          |GPIO_PIN_4;
  GPIO_InitStruct.Mode = GPIO_MODE_OUTPUT_PP;
  GPIO_InitStruct.Pull = GPIO_NOPULL;
  GPIO_InitStruct.Speed = GPIO_SPEED_FREQ_LOW;
  HAL_GPIO_Init(GPIOB, &GPIO_InitStruct);

  /*Configure GPIO pins : PD8 PD0 PD1 PD2
                           PD3 PD4 PD5 PD6 */
  GPIO_InitStruct.Pin = GPIO_PIN_8|GPIO_PIN_0|GPIO_PIN_1|GPIO_PIN_2
                          |GPIO_PIN_3|GPIO_PIN_4|GPIO_PIN_5|GPIO_PIN_6;
  GPIO_InitStruct.Mode = GPIO_MODE_INPUT;
  GPIO_InitStruct.Pull = GPIO_PULLUP;
  HAL_GPIO_Init(GPIOD, &GPIO_InitStruct);

  /* EXTI interrupt init*/
  HAL_NVIC_SetPriority(EXTI4_15_IRQn, 0, 0);
  HAL_NVIC_EnableIRQ(EXTI4_15_IRQn);

}

/* USER CODE BEGIN 4 */

void comm_out(unsigned char m) //输出命令
{
	GPIOB->ODR=0x0A;
	GPIOA->ODR=m;
	GPIOB->ODR=0x1E;
}

void data_out(unsigned char b) //输出数据
{
	GPIOB->ODR=0x0B;
	GPIOA->ODR=b;
	GPIOB->ODR=0x1E;
}

void write_data(unsigned char i,unsigned char j) //TFT写颜色
{
	GPIOB->ODR=0x0F;
	GPIOA->ODR=i;
	GPIOB->ODR=0x0B;
	GPIOB->ODR=0x0F;
	GPIOA->ODR=j;
	GPIOB->ODR=0x0B;
	GPIOB->ODR=0x1F;
}

void reset_TFT() //TFT彩屏复位
{
	HAL_GPIO_WritePin(GPIOB,GPIO_PIN_3,1); //RST=1
	HAL_Delay(5);
	HAL_GPIO_WritePin(GPIOB,GPIO_PIN_3,0); //RST=0
	HAL_Delay(5);
	HAL_GPIO_WritePin(GPIOB,GPIO_PIN_3,1); //RST=1
	HAL_Delay(5);
}

void ini_ILI9341() //彩屏控制器初始化
{
	HAL_GPIO_WritePin(GPIOB,GPIO_PIN_3,1); //RST=1
  HAL_Delay(20);
 	HAL_GPIO_WritePin(GPIOB,GPIO_PIN_3,0); //RST=0
  HAL_Delay(40);
	HAL_GPIO_WritePin(GPIOB,GPIO_PIN_3,1); //RST=1
  HAL_Delay(40);

	//************* Start Initial Sequence **********//
  comm_out(0xCF);          //power control,address is 0xCF
  data_out(0x00);          //parameter #1
  data_out(0xC1);          //parameter #2
  data_out(0X30);          //parameter #3

  comm_out(0xED);          //Power on sequence control,address is 0xED
  data_out(0x64);          //parameter #1
  data_out(0x03);          //parameter #2
  data_out(0X12);          //parameter #3
  data_out(0X81);          //parameter #4

  comm_out(0xE8);          //Driver timing control A, address is 0xE8
  data_out(0x85);          //parameter #1
  data_out(0x10);          //parameter #2
  data_out(0x7A);          //parameter #3

  comm_out(0xCB);          //Power control A, address is 0xCB
  data_out(0x39);          //parameter #1
  data_out(0x2C);          //parameter #2
  data_out(0x00);          //parameter #3
  data_out(0x34);          //parameter #4
  data_out(0x02);          //parameter #5

  comm_out(0xF7);          //Pump ratio control,address is 0xF7
  data_out(0x20);          //parameter #1

  comm_out(0xEA);          //Driver timing control B,address is 0xEA
  data_out(0x00);          //parameter #1
  data_out(0x00);          //parameter #2

  comm_out(0xC0);          //Power control 1,address is 0xC0
  data_out(0x21);          //parameter #1,VRH[5:0]

  comm_out(0xC1);          //Power control 2,address is 0xC1
  data_out(0x13);          //parameter #1,SAP[2:0];BT[3:0]

  comm_out(0xC5);          //VCM control 1,address is 0xC5
  data_out(0x3F);          //parameter #1
  data_out(0x3C);          //parameter #2

  comm_out(0xC7);          //VCM control 2,address is 0xC7
  data_out(0XB3);          //parameter #1

  comm_out(0x36);          //Memory Access Control, address is 0x36
  data_out(0x08);          //parameter #1

  comm_out(0x3A);          //Pixel Format Set,address is 0x3A
  data_out(0x55);          //parameter #1

  comm_out(0xB1);          //Frame Rate Control,address is 0xB1
  data_out(0x00);          //parameter #1
  data_out(0x1B);          //parameter #2

  comm_out(0xB6);          //Display Function Control,address is 0xB6
  data_out(0x0A);          //parameter #1
  data_out(0xA2);          //parameter #2

  comm_out(0xF6);          //Interface Control,address is 0xF6
  data_out(0x01);          //parameter #1
  data_out(0x30);          //parameter #2

  comm_out(0xF2);          //Enable 3 gamma,address is 0xF2
  data_out(0x00);          //parameter #1,3Gamma Function Disable

  comm_out(0x26);          //Gamma Set,address is 0x26
  data_out(0x01);          //Gamma curve selected

  comm_out(0xE0);          //Positive Gamma Correction,address is 0xE0
  data_out(0x0F);          //parameter #1
  data_out(0x24);          //parameter #2
  data_out(0x21);          //parameter #3
  data_out(0x0C);          //parameter #4
  data_out(0x0F);          //parameter #5
  data_out(0x09);          //parameter #6
  data_out(0x4D);          //parameter #7
  data_out(0XB8);          //parameter #8
  data_out(0x3C);          //parameter #9
  data_out(0x0A);          //parameter #10
  data_out(0x13);          //parameter #11
  data_out(0x04);          //parameter #12
  data_out(0x0A);          //parameter #13
  data_out(0x05);          //parameter #14
  data_out(0x00);          //parameter #15

  comm_out(0XE1);          //Negative Gamma Correction,address is 0xE1
  data_out(0x00);          //parameter #1
  data_out(0x1B);          //parameter #2
  data_out(0x1E);          //parameter #3
  data_out(0x03);          //parameter #4
  data_out(0x10);          //parameter #5
  data_out(0x06);          //parameter #6
  data_out(0x32);          //parameter #7
  data_out(0x47);          //parameter #8
  data_out(0x43);          //parameter #9
  data_out(0x05);          //parameter #10
  data_out(0x0C);          //parameter #11
  data_out(0x0B);          //parameter #12
  data_out(0x35);          //parameter #13
  data_out(0x3A);          //parameter #14
  data_out(0x0F);          //parameter #15

  comm_out(0x11);          //Sleep Out, address is 0x11
  HAL_Delay(120);
  comm_out(0x29);          //Display on,address is 0x29
}

//**********************************************************

void printff(int hang,char tstr[])  //根据字符串TSTR改文字模式显存
{
	//i循环辅助变量  （0-19）某一列
	for(int l=0;l<19;l++)
	{
		if(tstr[l]==' ')	    WZK[hang][l]=0;
		else if(tstr[l]=='A') WZK[hang][l]=1;
		else if(tstr[l]=='B') WZK[hang][l]=2;
		else if(tstr[l]=='C') WZK[hang][l]=3;
		else if(tstr[l]=='D') WZK[hang][l]=4;
		else if(tstr[l]=='E') WZK[hang][l]=5;
		else if(tstr[l]=='F') WZK[hang][l]=6;
		else if(tstr[l]=='G') WZK[hang][l]=7;
		else if(tstr[l]=='H') WZK[hang][l]=8;
		else if(tstr[l]=='I') WZK[hang][l]=9;
		else if(tstr[l]=='J') WZK[hang][l]=10;
		else if(tstr[l]=='K') WZK[hang][l]=11;
		else if(tstr[l]=='L') WZK[hang][l]=12;
		else if(tstr[l]=='M') WZK[hang][l]=13;
		else if(tstr[l]=='N') WZK[hang][l]=14;
		else if(tstr[l]=='O') WZK[hang][l]=15;
		else if(tstr[l]=='P') WZK[hang][l]=16;
		else if(tstr[l]=='Q') WZK[hang][l]=17;
		else if(tstr[l]=='R') WZK[hang][l]=18;
		else if(tstr[l]=='S') WZK[hang][l]=19;
		else if(tstr[l]=='T') WZK[hang][l]=20;
		else if(tstr[l]=='U') WZK[hang][l]=21;
		else if(tstr[l]=='V') WZK[hang][l]=22;
		else if(tstr[l]=='W') WZK[hang][l]=23;
		else if(tstr[l]=='X') WZK[hang][l]=24;
		else if(tstr[l]=='Y') WZK[hang][l]=25;
		else if(tstr[l]=='Z') WZK[hang][l]=26;
		else ;
	}
}

void display_TCS(void)	//按照贪吃蛇模式显示
{
	unsigned int H,h; //H L 块坐标
	unsigned int L,l;	//h l 点坐标
  comm_out(0x2A);
  data_out(0x00);
  data_out(0x00);
  data_out(0x00);
  data_out(0xef);
  comm_out(0x2b);
  data_out(0x00);
  data_out(0x00);
  data_out(0x01);
  data_out(0x3f);
  comm_out(0x2C);
  for(H=0;H<20;H++)  		 	//20*16=320
		for(h=0;h<16;h++)
			for(L=0;L<20;L++)		//20*12=240
				for(l=0;l<12;l++)
				{
					if(TCSK[H][L]!=0)
						write_data(0x00+TCSK[H][L]*20,0x00+TCSK[H][L]*20);
					else
					  write_data(0x00,0x00);
				}
}

void display_ZF(void) 	//按照字符模式显示
{
	unsigned int H,h; //H L 块坐标
	unsigned int L,l;	//h l 点坐标
  comm_out(0x2A);
  data_out(0x00);
  data_out(0x00);
  data_out(0x00);
  data_out(0xef);
  comm_out(0x2b);
  data_out(0x00);
  data_out(0x00);
  data_out(0x01);
  data_out(0x3f);
  comm_out(0x2C);
  for(H=0;H<20;H++)  		 	//20*16=320
		for(h=0;h<16;h++)
			for(L=0;L<20;L++)		//20*12=240
				for(l=0;l<12;l++)
				{
					if(WZK[H][L]<27) //满足显示要求
					{
						if(ZFK[WZK[H][L]][h][l]==1)
							write_data(0x00,0xFF);
						else
							write_data(0x00,0x00);
					}
					else //显示黑
						write_data(0x00,0x00);
				}
}

void clear_TCS(void)  //贪吃蛇显存清除
{
	for(int i=0;i<20;i++)
		for(int j=0;j<20;j++)
			TCSK[i][j]=0;
}

void clear_WZ(void)	//文字显存清除
{
	for(int i=0;i<20;i++)
		for(int j=0;j<20;j++)
			WZK[i][j]=0;
}

//*****************************************

void EXTI4_15_IRQHandler(void)   // 中断控制----改变游戏模式以及暂停
{
  if (EXTI_GetITStatus(0x0040) != 0x00)  // 0x0040==EXTI_PIN_6
  {
		EXTI_ClearITPendingBit(0x0040);
		ms=1;
  }
	else if (EXTI_GetITStatus(0x0080) != 0x00)  // 0x0080==EXTI_PIN_7
  {
		EXTI_ClearITPendingBit(0x0080);
		ms=2;
  }
	else if (EXTI_GetITStatus(0x0100) != 0x00)  // 0x0100==EXTI_PIN_8
  {
		EXTI_ClearITPendingBit(0x0100);
		ms=3;
  }
	else if (EXTI_GetITStatus(0x0200) != 0x00)  // 0x0200==EXTI_PIN_9
  {
		EXTI_ClearITPendingBit(0x0200);
		ms=4;
  }
	else if (EXTI_GetITStatus(0x0400) != 0x00)  // 0x0400==EXTI_PIN_10
  {
		EXTI_ClearITPendingBit(0x0400);
		ms=5;
  }
	else if (EXTI_GetITStatus(0x0800) != 0x00)  // 0x0800==EXTI_PIN_11
  {
		EXTI_ClearITPendingBit(0x0800);
		ms=6;
  }
	else ;

	if (EXTI_GetITStatus(0x2000) != 0x00)  // 0x2000==GPIO_PIN_13
  {
		EXTI_ClearITPendingBit(0x2000);  //Clear interrupt flag bit
		if(stop==1) stop=0;
		else stop=1;
  }
	else
	{
		clear_WZ();
		clear_TCS();
		score=0;
		food=0;
		draw();
		mods();    //对应模式小蛇初始化
	}
}

void mods(void)  //对应模式小蛇初始化
{
	if(ms!=4)
	{
		tang[0][1].x=1;
		tang[0][1].y=3;
		tang[0][2].x=1;
		tang[0][2].y=2;
		tang[0][tot[0]=3].x=1;
		tang[0][tot[0]=3].y=1;
		f[0]=1;   //玩家1初始方向  向右
		for(int i=1;i<=tot[0];i++)
			TCSK[tang[0][i].x][tang[0][i].y]=4;
	}
	if(ms==2||ms==3||ms==6)
	{
		tang[1][1].x=n-2;
		tang[1][1].y=m-4;
		tang[1][2].x=n-2;
		tang[1][2].y=m-3;
		tang[1][tot[1]=3].x=n-2;
		tang[1][tot[1]=3].y=m-2;
		f[1]=2;    //玩家2初始方向  向左
		for(int i=1;i<=tot[1];i++)
			TCSK[tang[1][i].x][tang[1][i].y]=5;
	}
	if(ms==5||ms==4)
	{
		tang[2][1].x=n-2;
		tang[2][1].y=m-4;
		tang[2][2].x=n-2;
		tang[2][2].y=m-3;
		tang[2][tot[2]=3].x=n-2;
		tang[2][tot[2]=3].y=m-2;
		f[2]=2;    //电脑1初始方向  向左
		for(int i=1;i<=tot[2];i++)
			TCSK[tang[2][i].x][tang[2][i].y]=6;
	}
	if(ms==4)
	{
		tang[3][1].x=1;
		tang[3][1].y=3;
		tang[3][2].x=1;
		tang[3][2].y=2;
		tang[3][tot[3]=3].x=1;
		tang[3][tot[3]=3].y=1;
		f[3]=1;   //电脑2初始方向  向右
		for(int i=1;i<=tot[3];i++)
			TCSK[tang[3][i].x][tang[3][i].y]=7;
	}
}

void draw(void)  //初始化贪吃蛇显存的边框数据
{
	for(int i=0;i<n;i++)
	{
		TCSK[i][0]=1;
		TCSK[i][m-1]=1;
	}
	for(int i=0;i<m;i++)
	{
		TCSK[0][i]=1;
		TCSK[n-1][i]=1;
	}
}

void rand_food(void)  //没有食物时随机投喂
{
    if(!vis[foodd[0].x][foodd[0].y]) //如果0号食物不见了
	{
		int x=(rand()%(n-3))+2,y=(rand()%(m-3))+2; //随机产生xy坐标y为偶数
		while(!check(x,y))
			x=(rand()%(n-3))+2,y=(rand()%(m-3))+2; //检验随机投喂的点，是否需要重新投喂
		TCSK[x][y]=10;
	    food++;
		vis[x][y]=1;
		foodd[0].x=x;
		foodd[0].y=y;
	}
	if(!vis[foodd[1].x][foodd[1].y])  //第二个食物--同上
	{
		int x=rand()%n,y=rand()%m;
		while(!check(x,y))
			x=rand()%n,y=(rand()%m);
		TCSK[x][y]=10;
		food++;
		vis[x][y]=1;
		foodd[1].x=x;
		foodd[1].y=y;
	}
}

void change(int t)  //没有按键按下蛇的运行--第t条蛇
{
	int x=tang[t][1].x,y=tang[t][1].y;    //x和y是蛇头位置的xy
	if(t==2||t==3)                      //2号和3号蛇是电脑
		machine(t,x,y);                   //机器人寻路
	x+=flg[f[t]][0],y+=flg[f[t]][1];    //蛇头(x,y)按规律变化
	for(int i=tot[t];i;i--)             //蛇的身子位置数据库刷新
	   {
	        tang[t][i+1]=tang[t][i];
	        TCSK[tang[t][i].x][tang[t][i].y]=t+4; //身子显示刷新  t+4颜色不同
		}
	TCSK[tang[t][tot[t]+1].x][tang[t][tot[t]+1].y]=0; //原来的蛇尾消失
	if(vis[x][y])  //如果吃掉一个食物的话
	{
		vis[x][y]=0,score+=(t==0||t==1),food--;
		if(++tot[t]>=10&&((ms==4)||(ms==5)||(ms==6)))  //有一方吃够分
			result(t);
		TCSK[tang[t][tot[t]].x][tang[t][tot[t]].y]=t+4; //尾巴处+1
	}
	fnd(t,x,y);   //一方撞墙撞蛇则失败
	tang[t][1].x=x;    //把蛇头位置反馈到全局变量中
	tang[t][1].y=y;
	TCSK[tang[t][1].x][tang[t][1].y]=5;  //新蛇头出现
}

int check(int x,int y)   //检验某一个点
{
	if(x<1||x>(n-2)||y<1||y>(m-2))  //边界以及边界上外返回0
		return 0;
	int t=1;
	if(ms!=4)
	    for(int i=1;i<=tot[0];i++)   //在蛇身上返回0
	        if(x==tang[0][i].x&&y==tang[0][i].y)
			    {t=0;break;}
	if(ms==2||ms==3||ms==6)
	    for(int i=1;i<=tot[1];i++)
	        if(x==tang[1][i].x&&y==tang[1][i].y)
			    {t=0;break;}
	if(ms==5||ms==4)
		for(int i=1;i<=tot[2];i++)
			if(x==tang[2][i].x&&y==tang[2][i].y)
					{t=0;break;}
	if(ms==4)
		for(int i=1;i<=tot[3];i++)
			if(x==tang[3][i].x&&y==tang[3][i].y)
					{t=0;break;}
	return t;    //都不在这些点返回1
}

void machine(int t,int x,int y)  //机器人寻路
{
	int foodid,minn=1e9,newf=f[t];//最小距离初始值很大
	if((get_food(x,y,foodd[0].x,foodd[0].y)<=get_food(x,y,foodd[1].x,foodd[1].y)&&vis[foodd[0].x][foodd[0].y])||!vis[foodd[1].x][foodd[1].y])
		foodid=0;
	else
		foodid=1;
	for(int i=0;i<4;i++)
		if(f[t]^other(i))//确保不是身后
		{
			if(check(x+flg[i][0],y+flg[i][1])) //确保前方不是障碍
			{
				int now=get_food(x+flg[i][0],y+flg[i][1],foodd[foodid].x,foodd[foodid].y); //计算新的距离————下一方向下一时刻距离
				if(now<minn)
					newf=i,minn=now;
			}
		}
	f[t]=newf;
}

void result(int t)  //积分够了--胜利
{
	if(ms==5)           //人机对抗-抢分
		if(t==0)
		{
			strcpy(tstr,"         WIN         ");
			printff(10,tstr);
			display_ZF();
		}
		else
		{
			strcpy(tstr,"         LOSE         ");
			printff(10,tstr);
			display_ZF();
		}
	else if(ms==4)      //机机对抗-抢分
	  if(t==2)
		{
			strcpy(tstr," ROBOT ONE WIN ENOUGH      ");
			printff(10,tstr);
			display_ZF();
		}
		else
		{
			strcpy(tstr," ROBOT TWO WIN ENOUGH      ");
			printff(10,tstr);
			display_ZF();
		}
	else if(ms==6)      //对抗模式-抢分
	    if(t==1)
		{
			strcpy(tstr," PLAYER ONE WIN ENOUGH      ");
			printff(10,tstr);
			display_ZF();
		}
		  else
		{
			strcpy(tstr," PLAYER TWO WIN ENOUGH   ");
			printff(10,tstr);
			display_ZF();
		}
	else ;
	while(1); //结束
}

void fnd(int t,int x,int y)  //撞到障碍物--失败
{
	if(check(x,y)) return;   //check(x,y)为0则相撞
	if(ms==4)        //机机对抗-抢分
	    if(t==3)
		{
			strcpy(tstr,"   ROBOT TWO DIE     ");
			printff(10,tstr);
			display_ZF();
		}
	    else
		{
			strcpy(tstr,"   ROBOT ONE DIE     ");
			printff(10,tstr);
			display_ZF();
		}
	else if(ms==3||ms==6)   //对抗模式  对抗模式-抢分
	    if(t==1)
		{
			strcpy(tstr,"   PLAYER TWO DIE     ");
			printff(10,tstr);
			display_ZF();
		}
		else
		{
			strcpy(tstr,"   PLAYER ONE WIN E     ");
			printff(10,tstr);
			display_ZF();
		}
	else
	{
		if(t==2)
		{
			strcpy(tstr,"      WIN               ");
			printff(10,tstr);
			display_ZF();
		}
		else
		{
			strcpy(tstr,"      LOSE              ");
			printff(10,tstr);
			display_ZF();
		}
		//printf("\n 玩家分数:%d\n",score);
		score=0;
	}
	while(1);  //结束
}

int ads(int x)  //取绝对值
{
    return x<0?-x:x; //x是否<0,如果x<0的话就执行:前面的语句，如果x不小于0的话就执行:后面的语句
}

int other(int x)  //03交换、12交换  对立方向
{
	if     (x==0) return 3;
	else if(x==1) return 2;
	else if(x==2) return 1;
	else          return 0;
}

int get_food(int x,int y,int xxx,int yyy)  //辅助机器人找寻食物
{
    return ads(x-xxx)+ads(y-yyy);
}

/* USER CODE END 4 */

void Error_Handler(void)
{
  __disable_irq();
  while (1)
  {
  }
}

/************************ (C) COPYRIGHT STMicroelectronics *****END OF FILE****/
